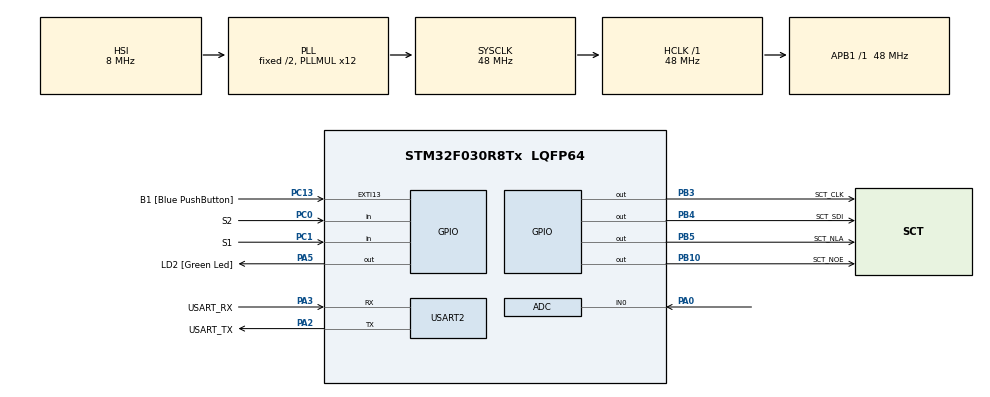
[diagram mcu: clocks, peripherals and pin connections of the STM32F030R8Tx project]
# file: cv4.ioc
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ADC.ContinuousConvMode=ENABLE
ADC.DiscontinuousConvMode=DISABLE
ADC.Overrun=ADC_OVR_DATA_OVERWRITTEN
ADC.SamplingTime=ADC_SAMPLETIME_239CYCLES_5
Mcu.Family=STM32F0
Mcu.Name=STM32F030R8Tx
Mcu.Package=LQFP64
NVIC.ADC1_IRQn=true\:0\:0\:false\:false\:true\:true\:true\:true
PA0.Mode=IN0
PA0.Signal=ADC_IN0
PA13.GPIO_Label=TMS
PA13.Mode=Serial_Wire
PA13.Signal=SYS_SWDIO
PA14.GPIO_Label=TCK
PA14.Mode=Serial_Wire
PA14.Signal=SYS_SWCLK
PA2.GPIO_Label=USART_TX
PA2.GPIO_Mode=GPIO_MODE_AF_PP
PA2.GPIO_PuPd=GPIO_NOPULL
PA2.GPIO_Speed=GPIO_SPEED_FREQ_LOW
PA2.Mode=Asynchronous
PA2.Signal=USART2_TX
PA3.GPIO_Label=USART_RX
PA3.GPIO_Mode=GPIO_MODE_AF_PP
PA3.GPIO_PuPd=GPIO_NOPULL
PA3.GPIO_Speed=GPIO_SPEED_FREQ_LOW
PA3.Mode=Asynchronous
PA3.Signal=USART2_RX
PA5.GPIO_Label=LD2 [Green Led]
PA5.GPIO_Mode=GPIO_MODE_OUTPUT_PP
PA5.GPIO_PuPd=GPIO_NOPULL
PA5.GPIO_Speed=GPIO_SPEED_FREQ_LOW
PA5.Signal=GPIO_Output
PB10.GPIO_Label=SCT_NOE
PB10.Signal=GPIO_Output
PB3.GPIO_Label=SCT_CLK
PB3.Signal=GPIO_Output
PB4.GPIO_Label=SCT_SDI
PB4.Signal=GPIO_Output
PB5.GPIO_Label=SCT_NLA
PB5.Signal=GPIO_Output
PC0.GPIO_Label=S2
PC0.GPIO_PuPd=GPIO_PULLUP
PC0.Signal=GPIO_Input
PC1.GPIO_Label=S1
PC1.GPIO_PuPd=GPIO_PULLUP
PC1.Signal=GPIO_Input
PC13.GPIO_Label=B1 [Blue PushButton]
PC13.GPIO_ModeDefaultEXTI=GPIO_MODE_IT_FALLING
PC13.Signal=GPXTI13
PC14-OSC32_IN.Mode=LSE-External-Oscillator
PC14-OSC32_IN.Signal=RCC_OSC32_IN
PC15-OSC32_OUT.Mode=LSE-External-Oscillator
PC15-OSC32_OUT.Signal=RCC_OSC32_OUT
PF0-OSC_IN.Mode=HSE-External-Clock-Source
PF0-OSC_IN.Signal=RCC_OSC_IN
PF1-OSC_OUT.Signal=RCC_OSC_OUT
ProjectManager.HeapSize=0x200
ProjectManager.StackSize=0x400
ProjectManager.TargetToolchain=STM32CubeIDE
RCC.AHBFreq_Value=48000000
RCC.APB1Freq_Value=48000000
RCC.APB1TimFreq_Value=48000000
RCC.HCLKFreq_Value=48000000
RCC.PLLMUL=RCC_PLL_MUL12
RCC.SYSCLKFreq_VALUE=48000000
RCC.SYSCLKSource=RCC_SYSCLKSOURCE_PLLCLK
USART2.VirtualMode-Asynchronous=VM_ASYNC
VP_ADC_TempSens_Input.Mode=IN-TempSens
VP_ADC_Vref_Input.Mode=IN-Vrefint
board=NUCLEO-F030R8

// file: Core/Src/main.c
/* USER CODE BEGIN Header */
/**
  ******************************************************************************
  * @file           : main.c
  * @brief          : Main program body
  ******************************************************************************
  * @attention
  *
  * Copyright (c) 2024 STMicroelectronics.
  * All rights reserved.
  *
  * This software is licensed under terms that can be found in the LICENSE file
  * in the root directory of this software component.
  * If no LICENSE file comes with this software, it is provided AS-IS.
  *
  ******************************************************************************
  */
/* USER CODE END Header */
#include "main.h"

/* USER CODE BEGIN Includes */
#include "sct.h"
/* USER CODE END Includes */

/* USER CODE BEGIN PD */
#define ADC_Q 12
#define DELAY 1000
/* Temperature sensor calibration value address */
#define TEMP110_CAL_ADDR ((uint16_t*) ((uint32_t) 0x1FFFF7C2))
#define TEMP30_CAL_ADDR ((uint16_t*) ((uint32_t) 0x1FFFF7B8))
/* Internal voltage reference calibration value address */
#define VREFINT_CAL_ADDR ((uint16_t*) ((uint32_t) 0x1FFFF7BA))
/* USER CODE END PD */

ADC_HandleTypeDef hadc;

UART_HandleTypeDef huart2;

/* USER CODE BEGIN PV */
static volatile uint32_t raw_pot, raw_volt, raw_temp;
/* USER CODE END PV */

void SystemClock_Config(void);
static void MX_GPIO_Init(void);
static void MX_USART2_UART_Init(void);
static void MX_ADC_Init(void);
/* USER CODE BEGIN PFP */
void HAL_ADC_ConvCpltCallback(ADC_HandleTypeDef* hadc);
/* USER CODE END PFP */

int main(void)
{

  /* MCU Configuration--------------------------------------------------------*/

  /* Reset of all peripherals, Initializes the Flash interface and the Systick. */
  HAL_Init();

  /* Configure the system clock */
  SystemClock_Config();

  /* Initialize all configured peripherals */
  MX_GPIO_Init();
  MX_USART2_UART_Init();
  MX_ADC_Init();
  /* USER CODE BEGIN 2 */
  sct_init();
  sct_led(0x7A5C36DE);
  HAL_ADCEx_Calibration_Start(&hadc);
  HAL_ADC_Start_IT(&hadc);
  /* USER CODE END 2 */

  /* Infinite loop */
  /* USER CODE BEGIN WHILE */
  while (1)
  {
	  static uint32_t rescaled_pot;
	  static uint8_t led_pot;
	  static uint32_t last_tick;

	  rescaled_pot = raw_pot* 500.9 /4095;
	  led_pot = raw_pot * 9 / 4095;

	  uint32_t voltage = 330 * (*VREFINT_CAL_ADDR) / raw_volt;
	  int32_t temperature = (raw_temp - (int32_t)(*TEMP30_CAL_ADDR));
	  temperature = temperature * (int32_t)(110 - 30);
	  temperature = temperature / (int32_t)(*TEMP110_CAL_ADDR - *TEMP30_CAL_ADDR);
	  temperature = temperature + 30;

	  if (HAL_GetTick() > last_tick + DELAY){
		  if (HAL_GPIO_ReadPin(S1_GPIO_Port, S1_Pin) & ~HAL_GPIO_ReadPin(S2_GPIO_Port, S2_Pin)) {
				state = SHOW_VOLT;
			} else if (HAL_GPIO_ReadPin(S2_GPIO_Port, S2_Pin & ~HAL_GPIO_ReadPin(S1_GPIO_Port, S1_Pin))){
				state = SHOW_TEMP;
			} else{
				state = SHOW_POT;
			}
		  last_tick = HAL_GetTick();
	  }

	  switch (state) {
		case SHOW_VOLT:
			sct_value(voltage, led_pot);
			break;
		case SHOW_TEMP:
			sct_value(temperature, led_pot);
			break;
		case SHOW_POT:
			sct_value(rescaled_pot, led_pot);
			break;

		default:
			break;
	}
	  HAL_Delay(50);
    /* USER CODE END WHILE */

  }
}

void SystemClock_Config(void)
{
  RCC_OscInitTypeDef RCC_OscInitStruct = {0};
  RCC_ClkInitTypeDef RCC_ClkInitStruct = {0};

  /** Initializes the RCC Oscillators according to the specified parameters
  * in the RCC_OscInitTypeDef structure.
  */
  RCC_OscInitStruct.OscillatorType = RCC_OSCILLATORTYPE_HSI|RCC_OSCILLATORTYPE_HSI14;
  RCC_OscInitStruct.HSIState = RCC_HSI_ON;
  RCC_OscInitStruct.HSI14State = RCC_HSI14_ON;
  RCC_OscInitStruct.HSICalibrationValue = RCC_HSICALIBRATION_DEFAULT;
  RCC_OscInitStruct.HSI14CalibrationValue = 16;
  RCC_OscInitStruct.PLL.PLLState = RCC_PLL_ON;
  RCC_OscInitStruct.PLL.PLLSource = RCC_PLLSOURCE_HSI;
  RCC_OscInitStruct.PLL.PLLMUL = RCC_PLL_MUL12;
  RCC_OscInitStruct.PLL.PREDIV = RCC_PREDIV_DIV1;
  if (HAL_RCC_OscConfig(&RCC_OscInitStruct) != HAL_OK)
  {
    Error_Handler();
  }

  /** Initializes the CPU, AHB and APB buses clocks
  */
  RCC_ClkInitStruct.ClockType = RCC_CLOCKTYPE_HCLK|RCC_CLOCKTYPE_SYSCLK
                              |RCC_CLOCKTYPE_PCLK1;
  RCC_ClkInitStruct.SYSCLKSource = RCC_SYSCLKSOURCE_PLLCLK;
  RCC_ClkInitStruct.AHBCLKDivider = RCC_SYSCLK_DIV1;
  RCC_ClkInitStruct.APB1CLKDivider = RCC_HCLK_DIV1;

  if (HAL_RCC_ClockConfig(&RCC_ClkInitStruct, FLASH_LATENCY_1) != HAL_OK)
  {
    Error_Handler();
  }
}

static void MX_ADC_Init(void)
{

  ADC_ChannelConfTypeDef sConfig = {0};

  /** Configure the global features of the ADC (Clock, Resolution, Data Alignment and number of conversion)
  */
  hadc.Instance = ADC1;
  hadc.Init.ClockPrescaler = ADC_CLOCK_ASYNC_DIV1;
  hadc.Init.Resolution = ADC_RESOLUTION_12B;
  hadc.Init.DataAlign = ADC_DATAALIGN_RIGHT;
  hadc.Init.ScanConvMode = ADC_SCAN_DIRECTION_FORWARD;
  hadc.Init.EOCSelection = ADC_EOC_SINGLE_CONV;
  hadc.Init.LowPowerAutoWait = DISABLE;
  hadc.Init.LowPowerAutoPowerOff = DISABLE;
  hadc.Init.ContinuousConvMode = ENABLE;
  hadc.Init.DiscontinuousConvMode = DISABLE;
  hadc.Init.ExternalTrigConv = ADC_SOFTWARE_START;
  hadc.Init.ExternalTrigConvEdge = ADC_EXTERNALTRIGCONVEDGE_NONE;
  hadc.Init.DMAContinuousRequests = DISABLE;
  hadc.Init.Overrun = ADC_OVR_DATA_OVERWRITTEN;
  if (HAL_ADC_Init(&hadc) != HAL_OK)
  {
    Error_Handler();
  }

  /** Configure for the selected ADC regular channel to be converted.
  */
  sConfig.Channel = ADC_CHANNEL_0;
  sConfig.Rank = ADC_RANK_CHANNEL_NUMBER;
  sConfig.SamplingTime = ADC_SAMPLETIME_239CYCLES_5;
  if (HAL_ADC_ConfigChannel(&hadc, &sConfig) != HAL_OK)
  {
    Error_Handler();
  }

  /** Configure for the selected ADC regular channel to be converted.
  */
  sConfig.Channel = ADC_CHANNEL_TEMPSENSOR;
  if (HAL_ADC_ConfigChannel(&hadc, &sConfig) != HAL_OK)
  {
    Error_Handler();
  }

  /** Configure for the selected ADC regular channel to be converted.
  */
  sConfig.Channel = ADC_CHANNEL_VREFINT;
  if (HAL_ADC_ConfigChannel(&hadc, &sConfig) != HAL_OK)
  {
    Error_Handler();
  }

}

static void MX_USART2_UART_Init(void)
{

  huart2.Instance = USART2;
  huart2.Init.BaudRate = 38400;
  huart2.Init.WordLength = UART_WORDLENGTH_8B;
  huart2.Init.StopBits = UART_STOPBITS_1;
  huart2.Init.Parity = UART_PARITY_NONE;
  huart2.Init.Mode = UART_MODE_TX_RX;
  huart2.Init.HwFlowCtl = UART_HWCONTROL_NONE;
  huart2.Init.OverSampling = UART_OVERSAMPLING_16;
  huart2.Init.OneBitSampling = UART_ONE_BIT_SAMPLE_DISABLE;
  huart2.AdvancedInit.AdvFeatureInit = UART_ADVFEATURE_NO_INIT;
  if (HAL_UART_Init(&huart2) != HAL_OK)
  {
    Error_Handler();
  }

}

static void MX_GPIO_Init(void)
{
  GPIO_InitTypeDef GPIO_InitStruct = {0};

  /* GPIO Ports Clock Enable */
  __HAL_RCC_GPIOC_CLK_ENABLE();
  __HAL_RCC_GPIOF_CLK_ENABLE();
  __HAL_RCC_GPIOA_CLK_ENABLE();
  __HAL_RCC_GPIOB_CLK_ENABLE();

  /*Configure GPIO pin Output Level */
  HAL_GPIO_WritePin(LD2_GPIO_Port, LD2_Pin, GPIO_PIN_RESET);

  /*Configure GPIO pin Output Level */
  HAL_GPIO_WritePin(GPIOB, SCT_NOE_Pin|SCT_CLK_Pin|SCT_SDI_Pin|SCT_NLA_Pin, GPIO_PIN_RESET);

  /*Configure GPIO pin : B1_Pin */
  GPIO_InitStruct.Pin = B1_Pin;
  GPIO_InitStruct.Mode = GPIO_MODE_IT_FALLING;
  GPIO_InitStruct.Pull = GPIO_NOPULL;
  HAL_GPIO_Init(B1_GPIO_Port, &GPIO_InitStruct);

  /*Configure GPIO pins : S2_Pin S1_Pin */
  GPIO_InitStruct.Pin = S2_Pin|S1_Pin;
  GPIO_InitStruct.Mode = GPIO_MODE_INPUT;
  GPIO_InitStruct.Pull = GPIO_PULLUP;
  HAL_GPIO_Init(GPIOC, &GPIO_InitStruct);

  /*Configure GPIO pin : LD2_Pin */
  GPIO_InitStruct.Pin = LD2_Pin;
  GPIO_InitStruct.Mode = GPIO_MODE_OUTPUT_PP;
  GPIO_InitStruct.Pull = GPIO_NOPULL;
  GPIO_InitStruct.Speed = GPIO_SPEED_FREQ_LOW;
  HAL_GPIO_Init(LD2_GPIO_Port, &GPIO_InitStruct);

  /*Configure GPIO pins : SCT_NOE_Pin SCT_CLK_Pin SCT_SDI_Pin SCT_NLA_Pin */
  GPIO_InitStruct.Pin = SCT_NOE_Pin|SCT_CLK_Pin|SCT_SDI_Pin|SCT_NLA_Pin;
  GPIO_InitStruct.Mode = GPIO_MODE_OUTPUT_PP;
  GPIO_InitStruct.Pull = GPIO_NOPULL;
  GPIO_InitStruct.Speed = GPIO_SPEED_FREQ_LOW;
  HAL_GPIO_Init(GPIOB, &GPIO_InitStruct);

}

/* USER CODE BEGIN 4 */
void HAL_ADC_ConvCpltCallback(ADC_HandleTypeDef* hadc){
	static uint32_t avg_pot, channel;

	if (channel == 0) {
		raw_pot = avg_pot >> ADC_Q;
		avg_pot -= raw_pot;
		avg_pot += HAL_ADC_GetValue(hadc);

	} else if (channel == 1) {
		raw_temp = HAL_ADC_GetValue(hadc);
	} else if (channel == 2) {
		raw_volt = HAL_ADC_GetValue(hadc);
	}

	if (__HAL_ADC_GET_FLAG(hadc, ADC_FLAG_EOS)) channel = 0;
	else channel ++;
}
/* USER CODE END 4 */

void Error_Handler(void)
{
  __disable_irq();
  while (1)
  {
  }
}
